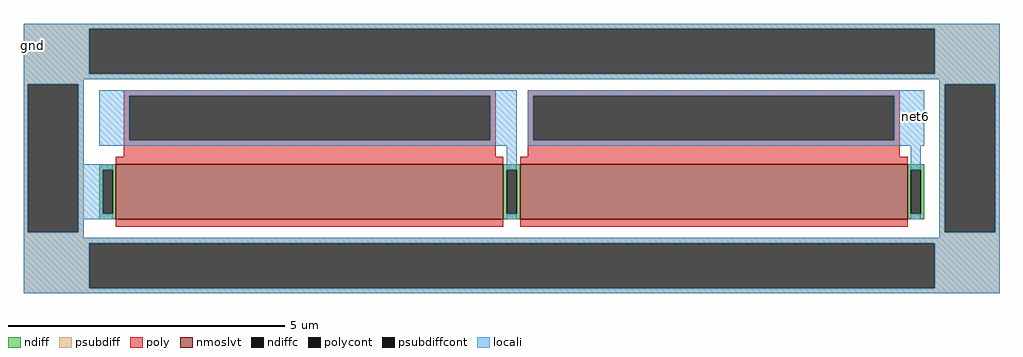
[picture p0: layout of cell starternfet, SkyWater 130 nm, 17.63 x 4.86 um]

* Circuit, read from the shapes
.subckt starternfet net6 gnd
XM1 n1 n1 gnd gnd sky130_fd_pr__nfet_01v8_lvt w=1 l=7
XM2 net6 net6 n1 gnd sky130_fd_pr__nfet_01v8_lvt w=1 l=7
.ends

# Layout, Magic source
magic
tech sky130A
<< psubdiff >>
rect -137 357 1626 366
rect -137 276 -18 357
rect 1509 276 1626 357
rect -137 266 1626 276
rect -137 257 -28 266
rect -137 -10 -129 257
rect -38 -10 -28 257
rect 1517 257 1626 266
rect -137 -20 -28 -10
rect 1517 -10 1527 257
rect 1618 -10 1626 257
rect 1517 -20 1626 -10
rect -137 -30 1626 -20
rect -137 -111 -18 -30
rect 1509 -111 1626 -30
rect -137 -120 1626 -111
<< psubdiffcont >>
rect -18 276 1509 357
rect -129 -10 -38 257
rect 1527 -10 1618 257
rect -18 -111 1509 -30
<< poly >>
rect 44 236 716 246
rect 44 156 54 236
rect 706 156 716 236
rect 44 126 716 156
rect 774 236 1446 246
rect 774 156 784 236
rect 1436 156 1446 236
rect 774 126 1446 156
<< polycont >>
rect 54 156 706 236
rect 784 156 1436 236
<< locali >>
rect -137 357 1626 366
rect -137 276 -18 357
rect 1509 276 1626 357
rect -137 266 1626 276
rect -137 257 -28 266
rect -137 -10 -129 257
rect -38 113 -28 257
rect 1517 257 1626 266
rect 0 236 754 246
rect 0 156 54 236
rect 706 156 754 236
rect 0 146 754 156
rect 774 236 1490 246
rect 774 156 784 236
rect 1436 156 1490 236
rect 774 146 1490 156
rect 736 113 754 146
rect 1466 113 1484 146
rect -38 13 6 113
rect -38 -10 -28 13
rect -137 -20 -28 -10
rect 1517 -10 1527 257
rect 1618 -10 1626 257
rect 1517 -20 1626 -10
rect -137 -30 1626 -20
rect -137 -111 -18 -30
rect 1509 -111 1626 -30
rect -137 -120 1626 -111
use nfet1  nfet1_1
transform 1 0 760 0 1 13
box -30 -13 730 113
use nfet1  nfet1_0
transform 1 0 30 0 1 13
box -30 -13 730 113
<< labels >>
rlabel locali 1474 199 1474 199 1 net6
port 1 n
rlabel locali -121 328 -121 328 1 gnd
port 2 n
<< end >>

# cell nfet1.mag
magic
tech sky130A
<< nmoslvt >>
rect 0 0 700 100
<< ndiff >>
rect -30 90 0 100
rect -30 10 -24 90
rect -6 10 0 90
rect -30 0 0 10
rect 700 90 730 100
rect 700 10 706 90
rect 724 10 730 90
rect 700 0 730 10
<< ndiffc >>
rect -24 10 -6 90
rect 706 10 724 90
<< poly >>
rect 0 100 700 113
rect 0 -13 700 0
<< locali >>
rect -24 90 -6 100
rect -24 0 -6 10
rect 706 90 724 100
rect 706 0 724 10
<< end >>
